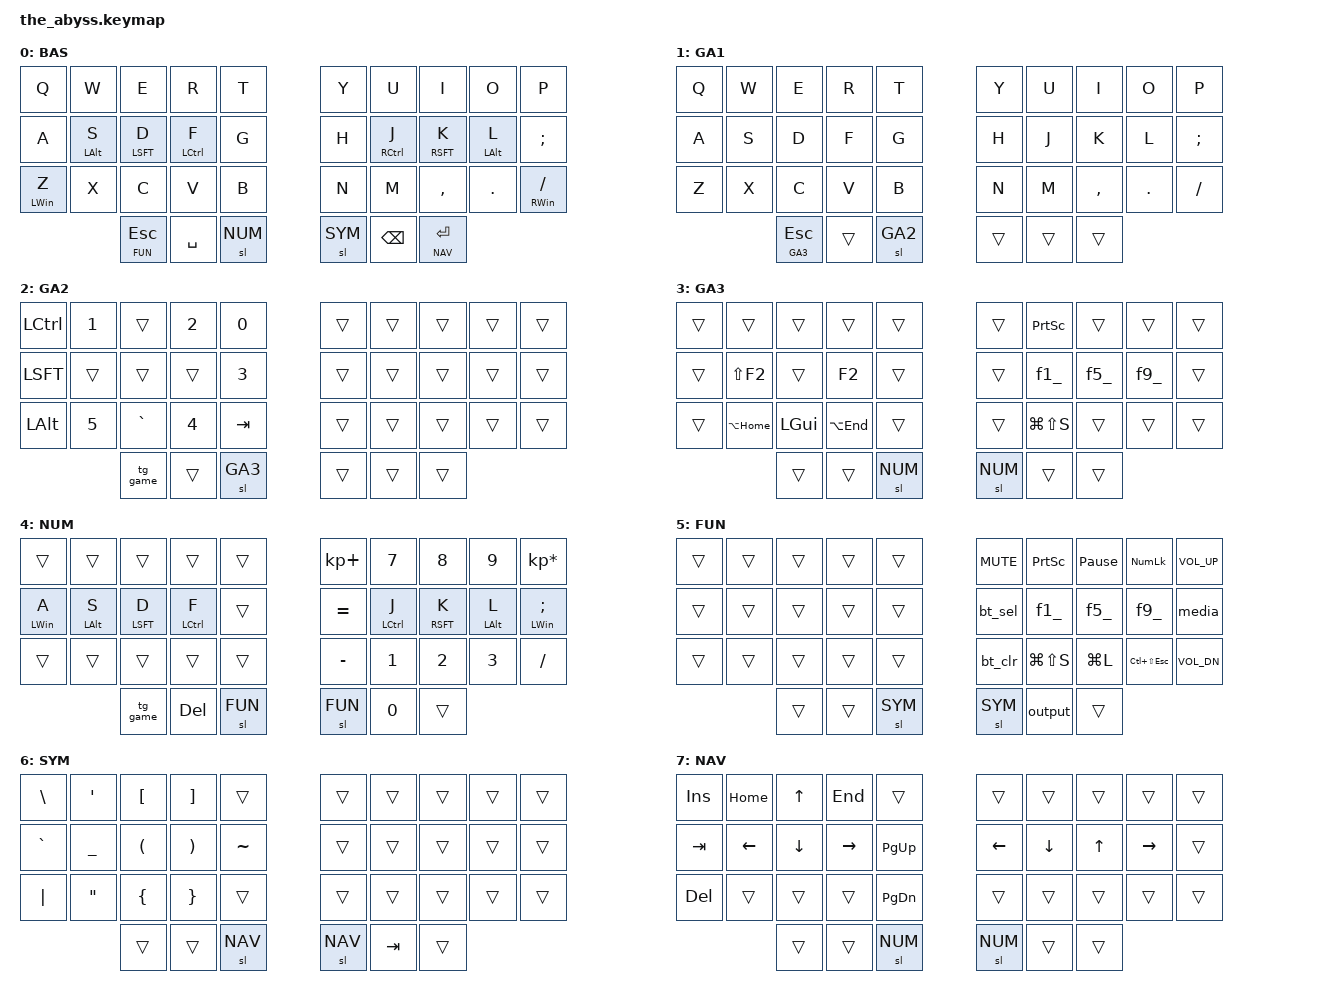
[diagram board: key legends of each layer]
// vim: set ft=dts:
#include <behaviors.dtsi>
#include <dt-bindings/zmk/bt.h>
#include <dt-bindings/zmk/keys.h>
#include <dt-bindings/zmk/outputs.h>

#define BAS 0
#define GA1 1
#define GA2 2
#define GA3 3
#define NUM 4
#define FUN 5
#define SYM 6
#define NAV 7

#define SCNSHT  LG(LS(S))
#define TSK_MGR LC(LS(ESC))

/ {
    keymap {
        compatible = "zmk,keymap";

        base_layer {
            display-name = "BAS";
            bindings = <
                &kp Q      &kp W      &kp E       &kp R      &kp T   /* */ &kp Y     &kp U      &kp I         &kp O      &kp P
                &kp A      &lh LALT S &lh LSFT D  &lh LCTL F &kp G   /* */ &kp H     &rh RCTL J &rh RSFT K    &rh LALT L &kp SEMI
                &hx LWIN Z &kp X      &kp C       &kp V      &kp B   /* */ &kp N     &kp M      &kp COMMA     &kp DOT    &hx RWIN SLASH
                                      &lt FUN ESC &kp SPACE  &sl NUM /* */ &sl SYM   &kp BSPC   &lt NAV ENTER
            >;
        };

        game1_layer {
            display-name = "GA1";
            bindings = <
                &kp Q     &kp W     &kp E       &kp R  &kp T   /* */ &kp Y  &kp U  &kp I     &kp O     &kp P
                &kp A     &kp S     &kp D       &kp F  &kp G   /* */ &kp H  &kp J  &kp K     &kp L     &kp SEMI
                &kp Z     &kp X     &kp C       &kp V  &kp B   /* */ &kp N  &kp M  &kp COMMA &kp DOT   &kp SLASH
                                    &lt GA3 ESC &trans &sl GA2 /* */ &trans &trans &trans
            >;
        };


        game2_layer {
            display-name = "GA2";
            bindings = <
                &kp LCTL &kp N1 &trans    &kp N2 &kp N0  /* */ &trans &trans &trans &trans &trans
                &kp LSFT &trans &trans    &trans &kp N3  /* */ &trans &trans &trans &trans &trans
                &kp LALT &kp N5 &kp GRAVE &kp N4 &kp TAB /* */ &trans &trans &trans &trans &trans
                                &tg_game  &trans &sl GA3 /* */ &trans &trans &trans
            >;
        };

        game3_layer {
            display-name = "GA3";
            bindings = <
                &trans  &trans       &trans   &trans      &trans  /* */ &trans  &kp PSCRN  &trans &trans &trans
                &trans  &kp LS(F2)   &trans   &kp F2      &trans  /* */ &trans  &f1_       &f5_   &f9_   &trans
                &trans  &kp LA(HOME) &kp LGUI &kp LA(END) &trans  /* */ &trans  &kp SCNSHT &trans &trans &trans
                                     &trans   &trans      &sl NUM /* */ &sl NUM &trans     &trans
            >;
        };

        number_layer {
            display-name = "NUM";
            bindings = <
                &trans    &trans    &trans    &trans    &trans  /* */ &kp KP_PLUS &kp N7    &kp N8    &kp N9    &kp KP_MULTIPLY
                &lh LWIN A &lh LALT S &lh LSFT D &lh LCTL F &trans  /* */ &kp EQUAL   &lh LCTL J &lh RSFT K &lh LALT L &lh LWIN SEMI
                &trans    &trans    &trans    &trans    &trans  /* */ &kp MINUS   &kp N1    &kp N2    &kp N3    &kp SLASH
                                    &tg_game  &kp DEL   &sl FUN /* */ &sl FUN     &kp N0    &trans
            >;
        };

        function_layer {
            display-name = "FUN";
            bindings = <
                &trans &trans &trans &trans &trans  /* */ &kp C_MUTE &kp PSCRN  &kp PAUSE_BREAK &kp KP_NUMLOCK &kp C_VOL_UP
                &trans &trans &trans &trans &trans  /* */ &bt_sel    &f1_       &f5_            &f9_           &media
                &trans &trans &trans &trans &trans  /* */ &bt_clr    &kp SCNSHT &kp LG(L)       &kp TSK_MGR    &kp C_VOL_DN
                              &trans &trans &sl SYM /* */ &sl SYM    &output    &trans
            >;
        };

        symbol_layer {
            display-name = "SYM";
            bindings = <
                &kp BACKSLASH &kp SQT   &kp LBKT &kp RBKT &trans    /* */ &trans  &trans   &trans &trans &trans
                &kp GRAVE     &kp UNDER &kp LPAR &kp RPAR &kp TILDE /* */ &trans  &trans   &trans &trans &trans
                &kp PIPE      &kp DQT   &kp LBRC &kp RBRC &trans    /* */ &trans  &trans   &trans &trans &trans
                                        &trans   &trans   &sl NAV   /* */ &sl NAV &kp TAB  &trans
            >;
        };

        navigation_layer {
            display-name = "NAV";
            bindings = <
                &kp INS &kp HOME &kp UP   &kp END   &trans    /* */ &trans   &trans   &trans &trans    &trans
                &kp TAB &kp LEFT &kp DOWN &kp RIGHT &kp PG_UP /* */ &kp LEFT &kp DOWN &kp UP &kp RIGHT &trans
                &kp DEL &trans   &trans   &trans    &kp PG_DN /* */ &trans   &trans   &trans &trans    &trans
                                 &trans   &trans    &sl NUM   /* */ &sl NUM  &trans   &trans
            >;
        };
    };

    /*                KEY POSITIONS

      ╭────────────────────╮ ╭────────────────────╮
      │  0   1   2   3   4 │ │  5   6   7   8   9 │
      │ 10  11  12  13  14 │ │ 15  16  17  18  19 │
      │ 20  21  22  23  24 │ │ 25  26  27  28  29 │
      ╰───────╮ 30  31  32 │ │ 33  34  35 ╭───────╯
              ╰────────────╯ ╰────────────╯        */

    combos {
        compatible = "zmk,combos";

        #define COMBO(NAME, BINDINGS, KEYPOS, TIMEOUT, LAYERS) \
            combo_##NAME { \
                timeout-ms = <TIMEOUT>; \
                bindings = <BINDINGS>; \
                key-positions = <KEYPOS>; \
                layers = <LAYERS>; \
                slow-release; \
            };

        #define DEFAULT_TIME 64
        #define LONG_TIME    128

        #define ALL_LAYERS     BAS GA1 GA2 GA3 NUM FUN SYM NAV NUM NAV
        #define DEFAULT_LAYERS BAS     GA2 GA3 NUM FUN SYM NAV NUM NAV
        #define NONBASE_LAYERS         GA2 GA3 NUM FUN SYM NAV NUM NAV

        COMBO(l_bail    , &bail     , 30 31, DEFAULT_TIME, DEFAULT_LAYERS)
        COMBO(r_bail    , &bail     , 34 35, DEFAULT_TIME, DEFAULT_LAYERS)
        COMBO(tab       , &kp TAB   , 13 31, DEFAULT_TIME, DEFAULT_LAYERS)
        COMBO(del       , &kp DEL   , 16 34, DEFAULT_TIME, DEFAULT_LAYERS)
        COMBO(caps_word , &caps_word, 31 34, DEFAULT_TIME, DEFAULT_LAYERS)

        COMBO(l_sk_ctrl , &sk LCTRL , 13 23, DEFAULT_TIME, DEFAULT_LAYERS)
        COMBO(l_sk_shift, &sk LSHIFT, 12 22, DEFAULT_TIME, DEFAULT_LAYERS)
        COMBO(l_sk_alt  , &sk LALT  , 11 21, DEFAULT_TIME, DEFAULT_LAYERS)
        COMBO(l_win     , &kp LWIN  , 10 20, DEFAULT_TIME, DEFAULT_LAYERS)

        COMBO(r_sk_ctrl , &sk LCTRL , 16 26, DEFAULT_TIME, DEFAULT_LAYERS)
        COMBO(r_sk_shift, &sk RSHIFT, 17 27, DEFAULT_TIME, DEFAULT_LAYERS)
        COMBO(r_sk_alt  , &sk RALT  , 18 28, DEFAULT_TIME, DEFAULT_LAYERS)
        COMBO(r_win     , &kp LWIN  , 19 29, DEFAULT_TIME, DEFAULT_LAYERS)

        COMBO(num_bspc  , &kp BSPC  , 6  16, DEFAULT_TIME, NUM           )
        COMBO(num_comma , &kp COMMA , 7  17, DEFAULT_TIME, NUM           )
        COMBO(num_space , &kp SPACE , 8  18, DEFAULT_TIME, NUM           )
    };

    behaviors {
        lh: left_homerow {
            compatible = "zmk,behavior-hold-tap";
            #binding-cells = <2>;
            flavor = "balanced";
            tapping-term-ms = <250>;
            quick-tap-ms = <250>;
            bindings = <&kp>, <&kp>;
            hold-while-undecided;
            hold-trigger-key-positions = <5 6 7 8 9 10 11 12 13 15 16 17 18 19 25 26 27 28 29 30 31 32 33 34 35>;
        };

        rh: right_homerow {
            compatible = "zmk,behavior-hold-tap";
            #binding-cells = <2>;
            flavor = "balanced";
            tapping-term-ms = <250>;
            quick-tap-ms = <250>;
            bindings = <&kp>, <&kp>;
            hold-while-undecided;
            hold-trigger-key-positions = <0 1 2 3 4 10 11 12 13 14 16 17 18 19 20 21 22 23 24 30 31 32 33 34 35>;
        };

        hx: homerow_x {
            compatible = "zmk,behavior-hold-tap";
            #binding-cells = <2>;
            flavor = "tap-preferred";
            tapping-term-ms = <250>;
            quick-tap-ms = <250>;
            bindings = <&kp>, <&kp>;
        };

        bt_sel: tap_dance_bluetooth_select {
            compatible = "zmk,behavior-tap-dance";
            #binding-cells = <0>;
            tapping-term-ms = <256>;
            bindings = <&bt BT_SEL 0>, <&bt BT_SEL 1>, <&bt BT_SEL 2>;
        };

        bt_clr: tap_dance_bluetooth_clear {
            compatible = "zmk,behavior-tap-dance";
            #binding-cells = <0>;
            tapping-term-ms = <256>;
            bindings = <&trans>, <&bt BT_CLR>;
        };

        tg_game: tg_game {
            compatible = "zmk,behavior-tap-dance";
            #binding-cells = <0>;
            tapping-term-ms = <512>;
            bindings = <&to BAS>, <&to GA1>;
        };

        n0_: tap_dance_n0_ {
            compatible = "zmk,behavior-tap-dance";
            #binding-cells = <0>;
            tapping-term-ms = <512>;
            bindings = <&kp N0>, <&kp N1>, <&kp N2>, <&kp N3>, <&kp N4>,
                       <&kp N5>, <&kp N6>, <&kp N7>, <&kp N8>, <&kp N9>;
        };

        f1_: tap_dance_f1_ {
            compatible = "zmk,behavior-tap-dance";
            #binding-cells = <0>;
            tapping-term-ms = <512>;
            bindings = <&kp F1>, <&kp F2>, <&kp F3>, <&kp F4>,
                       <&kp F5>, <&kp F6>, <&kp F7>, <&kp F8>,
                       <&kp F9>, <&kp F10>, <&kp F11>, <&kp F12>,
                       <&kp F13>, <&kp F14>, <&kp F15>, <&kp F16>,
                       <&kp F17>, <&kp F18>, <&kp F19>, <&kp F20>,
                       <&kp F22>, <&kp F23>, <&kp F24>;
        };

        f5_: tap_dance_f5_ {
            compatible = "zmk,behavior-tap-dance";
            #binding-cells = <0>;
            tapping-term-ms = <300>;
            bindings = <&kp F5>, <&kp F6>, <&kp F7>, <&kp F8>,
                       <&kp F9>, <&kp F10>, <&kp F11>, <&kp F12>,
                       <&kp F13>, <&kp F14>, <&kp F15>, <&kp F16>,
                       <&kp F17>, <&kp F18>, <&kp F19>, <&kp F20>,
                       <&kp F22>, <&kp F23>, <&kp F24>;
        };

        f9_: tap_dance_f9_ {
            compatible = "zmk,behavior-tap-dance";
            #binding-cells = <0>;
            tapping-term-ms = <300>;
            bindings = <&kp F9>, <&kp F10>, <&kp F11>, <&kp F12>,
                       <&kp F13>, <&kp F14>, <&kp F15>, <&kp F16>,
                       <&kp F17>, <&kp F18>, <&kp F19>, <&kp F20>,
                       <&kp F22>, <&kp F23>, <&kp F24>;
        };

        media: tap_dance_media {
            compatible = "zmk,behavior-tap-dance";
            #binding-cells = <0>;
            tapping-term-ms = <300>;
            bindings = <&kp C_PP>, <&kp C_NEXT>, <&kp C_PREV>;
        };

        output: tap_output {
            compatible = "zmk,behavior-tap-dance";
            #binding-cells = <0>;
            tapping-term-ms = <300>;
            bindings = <&out OUT_USB>, <&out OUT_BLE>;
        };
    };

    macros {
        // No way to cancel sticky keys so using F24 as a NOOP proxy
        // Bailing out of any sticky keyboard state macro
        bail: macro_bail {
            compatible = "zmk,behavior-macro";
            #binding-cells = <0>;
            bindings = <&macro_tap &kp F24 &to BAS>;
        };

        noop: macro_noop {
            compatible = "zmk,behavior-macro";
            #binding-cells = <0>;
            bindings = <&macro_tap &kp F24>;
        };
    };
};

&sl { release-after-ms = <800>; };
&sk { release-after-ms = <800>; quick-release; };
&lt { flavor = "balanced"; tapping-term-ms = <222>; };
&caps_word { continue-list = <UNDERSCORE MINUS BSPC>; };

// Empty keymap
// &trans &trans &trans &trans &trans /* */ &trans &trans &trans &trans &trans
// &trans &trans &trans &trans &trans /* */ &trans &trans &trans &trans &trans
// &trans &trans &trans &trans &trans /* */ &trans &trans &trans &trans &trans
//               &trans &trans &trans /* */ &trans &trans &trans
